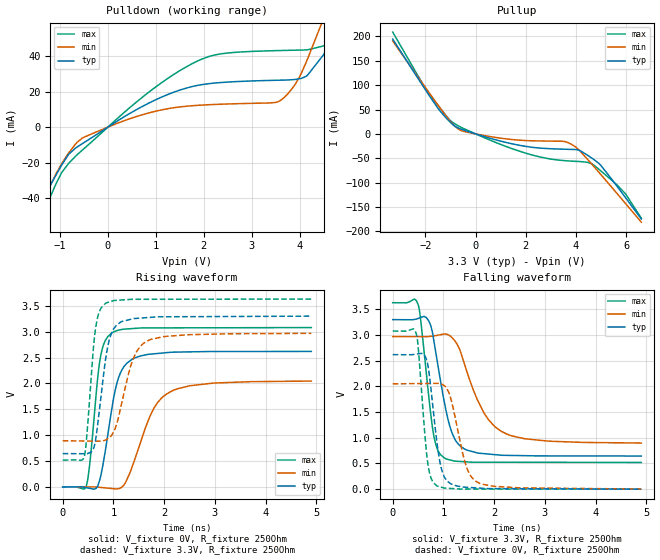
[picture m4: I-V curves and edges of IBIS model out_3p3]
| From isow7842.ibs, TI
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|   out_3p3 Model
[Model]   out_3p3
Model_type   Output
Polarity   Non-Inverting
Vmeas = 1.65
Vref = 3.3
Cref = 2pF
Rref = 250
|   typ   min   max
C_comp   1.000e-200   NA   NA
|C_comp (ON state)   1.000e-200   NA   NA
|C_comp (OFF state)   1.000e-200   NA   NA
[Voltage Range]   3.3   2.97   3.63
[Temperature Range]   27   150   -55
[Pullup Reference]   3.3   2.97   3.63
[Pulldown Reference]   0   0   0
[Power Clamp Reference]   3.3   2.97   3.63
[GND Clamp Reference]   0   0   0
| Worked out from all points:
|   slope of the pulldown table from 0 to 0.495 V, typ, clamps not added: 59.5 ohm
|   slope of the pullup table from 0 to 0.495 V, typ, clamps not added: 63.9 ohm
|   falling waveform, V_fixture 3.3V, R_fixture 250Ohm: 20-80 % time 310ps typ, 550ps min, 210ps max; typ from 3.3 V to 0.645 V
|   rising waveform, V_fixture 0V, R_fixture 250Ohm: 20-80 % time 286ps typ, 501ps min, 185ps max; typ from 0 V to 2.62 V
|   rising waveform, V_fixture 3.3V, R_fixture 250Ohm: 20-80 % time 215ps typ, 335ps min, 153ps max; typ from 0.645 V to 3.3 V
|   falling waveform, V_fixture 0V, R_fixture 250Ohm: 20-80 % time 194ps typ, 285ps min, 150ps max; typ from 2.62 V to 0 V
[Pulldown]
|   Voltage   I(typ)   I(min)   I(max)
-3.3V     -169.6mA   -158.2mA   -192.9mA
-1.657V   -57.2mA    -59.07mA   -68.54mA
-1.439V   -44.94mA   -46.35mA   -54.56mA
-963.6mV  -21.45mA   -20.69mA   -25.7mA
-537.9mV  -9.424mA   -6.298mA   -13.11mA
848.1mV   13.5mA     7.98mA     19.62mA
1.957V    23.99mA    12.45mA    38.4mA
3.62V     26.54mA    15.46mA    43.28mA
4.125V    28.6mA     36.1mA     43.6mA
4.491V    40.71mA    61.04mA    45.82mA
4.877V    59.19mA    88.66mA    57.35mA
6.6V      194.5mA    215.1mA    179.3mA
[Pullup]
|   Voltage   I(typ)   I(min)   I(max)
-3.3V     194.5mA    190.7mA    208.9mA
-1.914V   84mA       89mA       87.05mA
-953.7mV  21.12mA    22.59mA    25.09mA
-498.3mV  8.34mA     5.505mA    11.53mA
1.403V    -19.79mA   -11.32mA   -29.41mA
2.65V     -29.47mA   -14.57mA   -48.3mA
3.759V    -31.77mA   -19.87mA   -55.7mA
4.135V    -33.77mA   -34.04mA   -56.72mA
4.709V    -52.58mA   -66.84mA   -64.2mA
4.986V    -64.56mA   -83.34mA   -75.85mA
5.976V    -131.2mA   -143.2mA   -123.3mA
6.6V      -174.6mA   -181.2mA   -173.1mA
[Ramp]
R_load = 250
|   typ   min   max
dV/dt_r   1.57124/2.84879e-10   1.2279/4.99553e-10   1.8475/1.84774e-10
dV/dt_f   1.59288/3.08677e-10   1.24336/5.4405e-10   1.86625/2.09546e-10
[Falling Waveform]
V_fixture = 3.3V
V_fixture_min = 2.97V
V_fixture_max = 3.63V
R_fixture = 250Ohm
C_fixture = 0F
|   Time   V(typ)   V(min)   V(max)
0s        3.3V       2.97V      3.63V
498.8ps   3.322V     2.968V     3.6V
660ps     3.342V     2.968V     2.279V
802.4ps   2.941V     2.981V     1.084V
1.017ns   1.699V     3.021V     607.9mV
1.172ns   1.088V     2.949V     558.4mV
1.316ns   853.7mV    2.73V      540mV
1.781ns   693.2mV    1.517V     524.6mV
2.127ns   661.5mV    1.133V     524.1mV
4.9ns     645.2mV    897.7mV    519.6mV
[Rising Waveform]
V_fixture = 0V
V_fixture_min = 0V
V_fixture_max = 0V
R_fixture = 250Ohm
C_fixture = 0F
|   Time   V(typ)   V(min)   V(max)
0s        3.967nV    223.2nV    2.291nV
464.6ps   -13.46mV   1.748mV    14.94mV
540.1ps   -27.82mV   2.033mV    507.2mV
738.8ps   167.5mV    -7.444mV   2.477V
967ps     1.505V     -29.2mV    2.975V
1.099ns   2.108V     -32.1mV    3.029V
1.268ns   2.395V     150.3mV    3.053V
1.781ns   2.571V     1.491V     3.073V
2.166ns   2.604V     1.861V     3.074V
4.9ns     2.619V     2.046V     3.079V
[Rising Waveform]
V_fixture = 3.3V
V_fixture_min = 2.97V
V_fixture_max = 3.63V
R_fixture = 250Ohm
C_fixture = 0F
|   Time   V(typ)   V(min)   V(max)
0s        645.2mV    893.8mV    519.6mV
425.7ps   642.7mV    888.5mV    587.5mV
641.9ps   874.2mV    885.9mV    3.022V
715ps     1.415V     885mV      3.369V
839ps     2.429V     905.9mV    3.544V
949.9ps   2.941V     982.6mV    3.583V
1.062ns   3.128V     1.213V     3.606V
1.383ns   3.249V     2.461V     3.625V
1.695ns   3.274V     2.834V     3.626V
4.9ns     3.3V       2.968V     3.63V
[Falling Waveform]
|Gnd
V_fixture = 0V
V_fixture_min = 0V
V_fixture_max = 0V
R_fixture = 250Ohm
C_fixture = 0F
|   Time   V(typ)   V(min)   V(max)
0s        2.619V     2.05V      3.079V
462.5ps   2.629V     2.055V     3.033V
506.7ps   2.635V     2.055V     2.717V
689ps     2.434V     2.057V     520.8mV
859.9ps   1.001V     2.059V     72.52mV
949.9ps   437.4mV    2.048V     40.21mV
1.074ns   156.4mV    1.944V     17.97mV
1.453ns   36.77mV    435.1mV    3.359mV
1.717ns   20.74mV    111.8mV    3.102mV
4.9ns     23.9uV     2.019mV    -116.1nV
